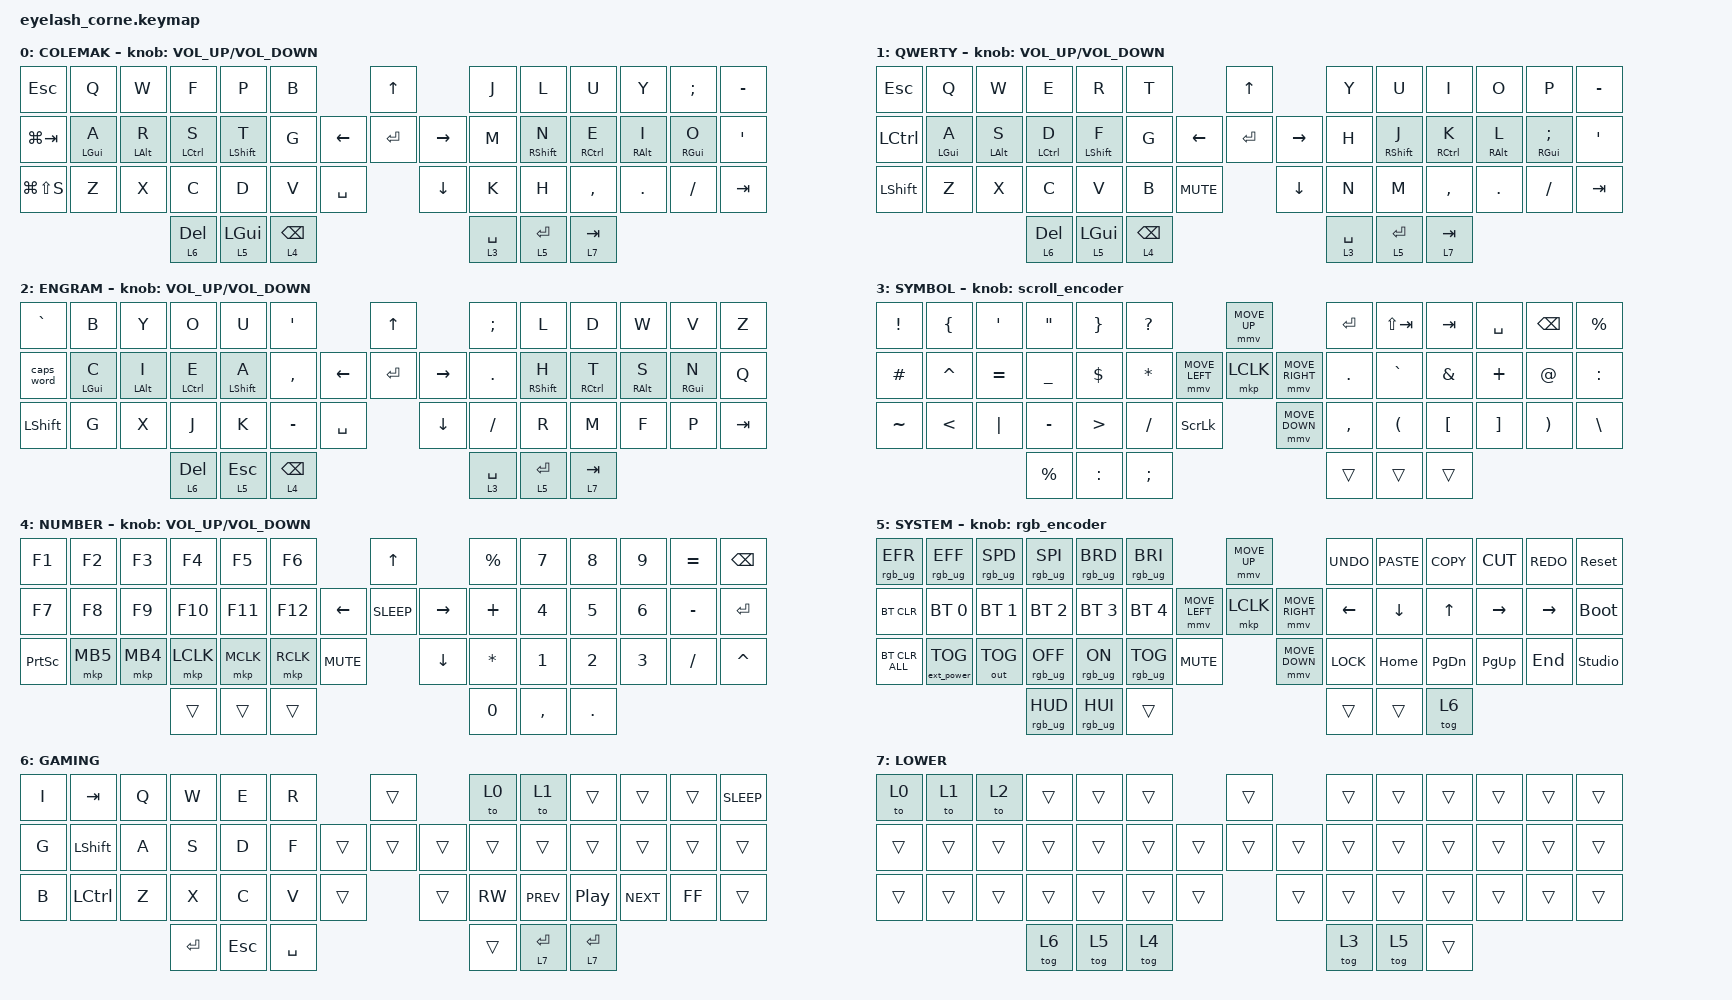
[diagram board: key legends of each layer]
#include <dt-bindings/zmk/mouse.h>
#include <input/processors.dtsi>
#include <behaviors.dtsi>
#include <dt-bindings/zmk/bt.h>
#include <dt-bindings/zmk/ext_power.h>
#include <dt-bindings/zmk/keys.h>
#include <dt-bindings/zmk/outputs.h>
#include <dt-bindings/zmk/pointing.h>
#include <dt-bindings/zmk/rgb.h>

/*

   &mmv_input_listener {
       input-processors = <&zip_xy_scaler 2 1>;
   };

   &msc_input_listener {
       input-processors = <&zip_xy_scaler 2 1>;
   };

 */

#define ZMK_MOUSE_DEFAULT_MOVE_VAL 1200  // 600
#define ZMK_MOUSE_DEFAULT_SCRL_VAL 20    // 10

/ {
    behaviors {
        td0: td0 {
            compatible = "zmk,behavior-tap-dance";
            display-name = "Shift/Caps Lock Tap Dance";
            #binding-cells = <0>;
            bindings = <&kp LEFT_SHIFT>, <&kp CAPS>;
        };

        hrm_left: hrm_left {
            compatible = "zmk,behavior-hold-tap";
            label = "HRM_LEFT";
            bindings = <&kp>, <&kp>;

            #binding-cells = <2>;
            flavor = "tap-preferred";
            tapping-term-ms = <250>;
            quick-tap-ms = <300>;
            require-prior-idle-ms = <150>;
            hold-trigger-on-release;
            hold-trigger-key-positions = <6 7 20 21 22 35 36 45 46 47 8 9 10 11 12 23 24 25 26 27 37 38 39 40 41 19 34 44 43 42>;
        };

        hrm_right: hrm_right {
            compatible = "zmk,behavior-hold-tap";
            label = "HRM_RIGHT";
            bindings = <&kp>, <&kp>;

            #binding-cells = <2>;
            flavor = "tap-preferred";
            tapping-term-ms = <250>;
            quick-tap-ms = <300>;
            require-prior-idle-ms = <150>;
            hold-trigger-on-release;
            hold-trigger-key-positions = <0 1 2 3 4 5 13 14 15 16 17 18 28 29 30 31 32 33 34 42 43 44 19 20 21 35 6 45 46 47>;
        };

        layer_tap: layer_tap {
            compatible = "zmk,behavior-hold-tap";
            label = "LAYER_TAP";
            bindings = <&mo>, <&kp>;

            #binding-cells = <2>;
            quick-tap-ms = <150>;
            flavor = "balanced";
            tapping-term-ms = <170>;
        };
    };

    rgb_encoder: rgb_encoder {
        compatible = "zmk,behavior-sensor-rotate";
        #sensor-binding-cells = <0>;
        bindings = <&rgb_ug RGB_BRI>, <&rgb_ug RGB_BRD>;
    };

    scroll_encoder: scroll_encoder {
        compatible = "zmk,behavior-sensor-rotate";
        #sensor-binding-cells = <0>;
        bindings = <&msc SCRL_DOWN>, <&msc SCRL_UP>;

        tap-ms = <30>;
    };

    keymap {
        compatible = "zmk,keymap";

        colemak {
            display-name = "COLEMAK";
            bindings = <
&kp ESCAPE     &kp Q             &kp W             &kp F                &kp P                  &kp B                                          &kp UP                &kp J               &kp L               &kp U               &kp Y              &kp SEMI           &kp MINUS
&kp LG(TAB)    &hrm_left LGUI A  &hrm_left LALT R  &hrm_left LCTRL S    &hrm_left LSHFT T      &kp G                                &kp LEFT  &kp ENTER  &kp RIGHT  &kp M               &hrm_right RSHFT N  &hrm_right RCTRL E  &hrm_right RALT I  &hrm_right RGUI O  &kp APOSTROPHE
&kp LG(LS(S))  &kp Z             &kp X             &kp C                &kp D                  &kp V                   &kp SPACE              &kp DOWN              &kp K               &kp H               &kp COMMA           &kp DOT            &kp FSLH           &kp TAB
                                                   &layer_tap 6 DELETE  &layer_tap 5 LEFT_GUI  &layer_tap 4 BACKSPACE                                               &layer_tap 3 SPACE  &layer_tap 5 ENTER  &layer_tap 7 TAB
            >;

            sensor-bindings = <&inc_dec_kp C_VOLUME_UP C_VOLUME_DOWN>;
        };

        qwerty {
            display-name = "QWERTY";
            bindings = <
&kp ESCAPE      &kp Q             &kp W             &kp E                &kp R                  &kp T                                           &kp UP_ARROW               &kp Y               &kp U               &kp I               &kp O              &kp P                 &kp MINUS
&kp LCTRL       &hrm_left LGUI A  &hrm_left LALT S  &hrm_left LCTRL D    &hrm_left LSHFT F      &kp G                                 &kp LEFT  &kp ENTER       &kp RIGHT  &kp H               &hrm_right RSHFT J  &hrm_right RCTRL K  &hrm_right RALT L  &hrm_right RGUI SEMI  &kp SQT
&kp LEFT_SHIFT  &kp Z             &kp X             &kp C                &kp V                  &kp B                   &kp C_MUTE              &kp DOWN_ARROW             &kp N               &kp M               &kp COMMA           &kp DOT            &kp FSLH              &kp TAB
                                                    &layer_tap 6 DELETE  &layer_tap 5 LEFT_GUI  &layer_tap 4 BACKSPACE                                                     &layer_tap 3 SPACE  &layer_tap 5 ENTER  &layer_tap 7 TAB
            >;

            sensor-bindings = <&inc_dec_kp C_VOLUME_UP C_VOLUME_DOWN>;
        };

        engram {
            display-name = "ENGRAM";
            bindings = <
&kp GRAVE       &kp B             &kp Y             &kp O                &kp U              &kp APOS                                       &kp UP                &kp SEMI            &kp L               &kp D               &kp W              &kp V              &kp Z
&caps_word      &hrm_left LGUI C  &hrm_left LALT I  &hrm_left LCTRL E    &hrm_left LSHFT A  &kp COMMA                            &kp LEFT  &kp ENTER  &kp RIGHT  &kp DOT             &hrm_right RSHFT H  &hrm_right RCTRL T  &hrm_right RALT S  &hrm_right RGUI N  &kp Q
&kp LEFT_SHIFT  &kp G             &kp X             &kp J                &kp K              &kp MINUS               &kp SPACE              &kp DOWN              &kp FSLH            &kp R               &kp M               &kp F              &kp P              &kp TAB
                                                    &layer_tap 6 DELETE  &layer_tap 5 ESC   &layer_tap 4 BACKSPACE                                               &layer_tap 3 SPACE  &layer_tap 5 ENTER  &layer_tap 7 TAB
            >;

            sensor-bindings = <&inc_dec_kp C_VOLUME_UP C_VOLUME_DOWN>;
        };

        symbol {
            bindings = <
&kp EXCLAMATION  &kp LEFT_BRACE  &kp SQT    &kp DOUBLE_QUOTES  &kp RIGHT_BRACE   &kp QUESTION                                     &mmv MOVE_UP                     &kp ENTER   &kp LS(TAB)           &kp TAB           &kp SPACE          &kp BACKSPACE          &kp PERCENT
&kp HASH         &kp CARET       &kp EQUAL  &kp UNDERSCORE     &kp DOLLAR        &kp ASTERISK                     &mmv MOVE_LEFT  &mkp LCLK       &mmv MOVE_RIGHT  &kp PERIOD  &kp GRAVE             &kp AMPERSAND     &kp PLUS           &kp AT                 &kp COLON
&kp TILDE        &kp LESS_THAN   &kp PIPE   &kp MINUS          &kp GREATER_THAN  &kp SLASH      &kp SCROLLLOCK                    &mmv MOVE_DOWN                   &kp COMMA   &kp LEFT_PARENTHESIS  &kp LEFT_BRACKET  &kp RIGHT_BRACKET  &kp RIGHT_PARENTHESIS  &kp BACKSLASH
                                            &kp PERCENT        &kp COLON         &kp SEMICOLON                                                                     &trans      &trans                &trans
            >;

            label = "SYMBOL";
            sensor-bindings = <&scroll_encoder>;
        };

        number {
            bindings = <
&kp F1           &kp F2    &kp F3    &kp F4     &kp F5     &kp F6                             &kp UP                  &kp PERCENT   &kp N7     &kp N8   &kp N9  &kp EQUAL  &kp BACKSPACE
&kp F7           &kp F8    &kp F9    &kp F10    &kp F11    &kp F12                  &kp LEFT  &kp C_SLEEP  &kp RIGHT  &kp PLUS      &kp N4     &kp N5   &kp N6  &kp MINUS  &kp ENTER
&kp PRINTSCREEN  &mkp MB5  &mkp MB4  &mkp LCLK  &mkp MCLK  &mkp RCLK  &kp C_MUTE              &kp DOWN                &kp ASTERISK  &kp N1     &kp N2   &kp N3  &kp FSLH   &kp CARET
                                     &trans     &trans     &trans                                                     &kp N0        &kp COMMA  &kp DOT
            >;

            label = "NUMBER";
            sensor-bindings = <&inc_dec_kp C_VOLUME_UP C_VOLUME_DOWN>;
        };

        system {
            display-name = "SYSTEM";
            bindings = <
&rgb_ug RGB_EFR  &rgb_ug RGB_EFF    &rgb_ug RGB_SPD  &rgb_ug RGB_SPI  &rgb_ug RGB_BRD  &rgb_ug RGB_BRI                                &mmv MOVE_UP                     &kp K_UNDO  &kp K_PASTE  &kp K_COPY  &kp K_CUT  &kp K_REDO  &sys_reset
&bt BT_CLR       &bt BT_SEL 0       &bt BT_SEL 1     &bt BT_SEL 2     &bt BT_SEL 3     &bt BT_SEL 4                   &mmv MOVE_LEFT  &mkp LCLK       &mmv MOVE_RIGHT  &kp LEFT    &kp DOWN     &kp UP      &kp RIGHT  &kp RIGHT   &bootloader
&bt BT_CLR_ALL   &ext_power EP_TOG  &out OUT_TOG     &rgb_ug RGB_OFF  &rgb_ug RGB_ON   &rgb_ug RGB_TOG  &kp C_MUTE                    &mmv MOVE_DOWN                   &kp K_LOCK  &kp HOME     &kp PG_DN   &kp PG_UP  &kp END     &studio_unlock
                                                     &rgb_ug RGB_HUD  &rgb_ug RGB_HUI  &trans                                                                          &trans      &trans       &tog 6
            >;

            sensor-bindings = <&rgb_encoder>;
        };

        gaming {
            bindings = <
&kp I  &kp TAB    &kp Q  &kp W      &kp E    &kp R                        &trans          &to 0     &to 1               &trans              &trans      &trans    &kp K_SLEEP
&kp G  &kp LSHFT  &kp A  &kp S      &kp D    &kp F                &trans  &trans  &trans  &trans    &trans              &trans              &trans      &trans    &trans
&kp B  &kp LCTRL  &kp Z  &kp X      &kp C    &kp V      &trans            &trans          &kp C_RW  &kp C_PREV          &kp C_PLAY_PAUSE    &kp C_NEXT  &kp C_FF  &trans
                         &kp ENTER  &kp ESC  &kp SPACE                                    &trans    &layer_tap 7 ENTER  &layer_tap 7 ENTER
            >;

            label = "GAMING";
        };

        lower {
            bindings = <
&to 0   &to 1   &to 2   &trans  &trans  &trans                    &trans          &trans  &trans  &trans  &trans  &trans  &trans
&trans  &trans  &trans  &trans  &trans  &trans            &trans  &trans  &trans  &trans  &trans  &trans  &trans  &trans  &trans
&trans  &trans  &trans  &trans  &trans  &trans  &trans            &trans          &trans  &trans  &trans  &trans  &trans  &trans
                        &tog 6  &tog 5  &tog 4                                    &tog 3  &tog 5  &trans
            >;

            label = "LOWER";
        };
    };
};
